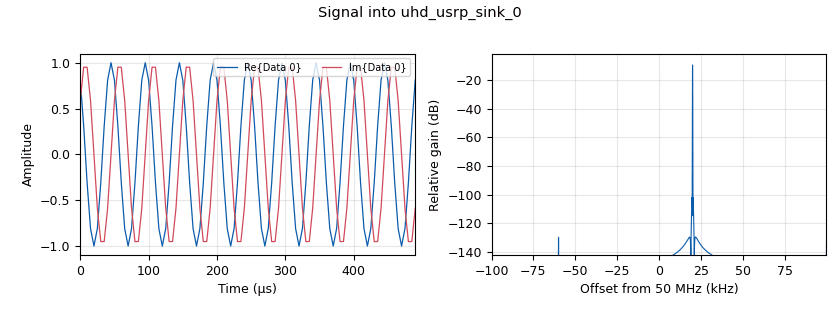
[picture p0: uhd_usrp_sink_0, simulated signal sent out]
options:
  parameters:
    author: elian calderon
    description: configuracion radio usrp cmo transmisor
    generate_options: qt_gui
    id: LAB2_COMU_PART2
    output_language: python
    title: Radio_USRP
  states: {}

blocks:
- name: A
  id: variable_qtgui_range
  parameters:
    label: Amplitud señal Tx
    orient: Qt.Horizontal
    start: '0'
    step: '0.0001'
    stop: '1'
    value: '1'
  states: {}
- name: GTX
  id: variable_qtgui_range
  parameters:
    label: Ganancia del Tx
    orient: Qt.Horizontal
    start: '0'
    step: '1'
    stop: '30'
    value: '0'
  states: {}
- name: fc
  id: variable_qtgui_range
  parameters:
    label: Frencuencia portadora
    orient: Qt.Horizontal
    start: '50000000'
    step: '1000000'
    stop: 2.2*1000000000
    value: '50000000'
  states: {}
- name: samp_rate
  id: variable
  parameters:
    value: 200e3
  states: {}
- name: analog_sig_source_x_0
  id: analog_sig_source_x
  parameters:
    amp: A
    freq: samp_rate/10
    offset: '0'
    phase: '0'
    samp_rate: samp_rate
    type: complex
    waveform: analog.GR_COS_WAVE
  states: {}
- name: uhd_usrp_sink_0
  id: uhd_usrp_sink
  parameters:
    ant0: TX/RX
    center_freq0: fc
    dev_args: '""'
    gain0: GTX
    len_tag_name: ''
    norm_gain0: 'False'
    samp_rate: samp_rate
    sync: pc_clock
    type: fc32
  states: {}

connections:
- [analog_sig_source_x_0, '0', uhd_usrp_sink_0, '0']

metadata:
  file_format: 1
